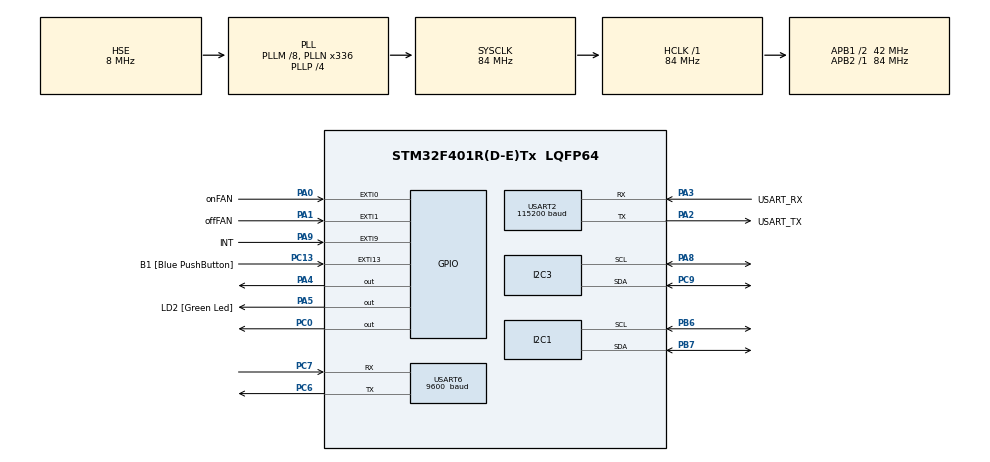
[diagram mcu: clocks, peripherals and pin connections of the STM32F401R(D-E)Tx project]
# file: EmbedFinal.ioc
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FREERTOS.Queues01=myQueue01,32,uint64_t,0,Dynamic,NULL,NULL
FREERTOS.Tasks01=defaultTask,24,128,StartDefaultTask,Default,NULL,Dynamic,NULL,NULL;myTask02,8,128,StartTask02,Default,NULL,Dynamic,NULL,NULL;myTask03,8,128,StartTask03,Default,NULL,Dynamic,NULL,NULL;myTask04,8,128,StartTask04,Default,NULL,Dynamic,NULL,NULL
FREERTOS.configUSE_NEWLIB_REENTRANT=1
I2C1.I2C_Mode=I2C_Fast
Mcu.Family=STM32F4
Mcu.Name=STM32F401R(D-E)Tx
Mcu.Package=LQFP64
NVIC.EXTI0_IRQn=true\:5\:0\:false\:false\:true\:true\:true\:true\:true
NVIC.EXTI15_10_IRQn=true\:5\:0\:false\:false\:true\:true\:true\:true\:true
NVIC.EXTI1_IRQn=true\:5\:0\:false\:false\:true\:true\:true\:true\:true
NVIC.EXTI9_5_IRQn=true\:5\:0\:false\:false\:true\:true\:true\:true\:true
NVIC.I2C1_ER_IRQn=true\:5\:0\:false\:false\:true\:true\:true\:true\:true
NVIC.I2C1_EV_IRQn=true\:5\:0\:false\:false\:true\:true\:true\:true\:true
NVIC.PriorityGroup=NVIC_PRIORITYGROUP_4
NVIC.TIM1_UP_TIM10_IRQn=true\:15\:0\:false\:false\:true\:false\:false\:true\:true
NVIC.TimeBase=TIM1_UP_TIM10_IRQn
NVIC.TimeBaseIP=TIM1
PA0-WKUP.GPIO_Label=onFAN
PA0-WKUP.GPIO_ModeDefaultEXTI=GPIO_MODE_IT_RISING
PA0-WKUP.GPIO_PuPd=GPIO_PULLUP
PA0-WKUP.Signal=GPXTI0
PA1.GPIO_Label=offFAN
PA1.GPIO_ModeDefaultEXTI=GPIO_MODE_IT_RISING
PA1.GPIO_PuPd=GPIO_PULLUP
PA1.Signal=GPXTI1
PA13.GPIO_Label=TMS
PA13.Mode=Serial_Wire
PA13.Signal=SYS_JTMS-SWDIO
PA14.GPIO_Label=TCK
PA14.Mode=Serial_Wire
PA14.Signal=SYS_JTCK-SWCLK
PA2.GPIO_Label=USART_TX
PA2.GPIO_Mode=GPIO_MODE_AF_PP
PA2.GPIO_PuPd=GPIO_NOPULL
PA2.GPIO_Speed=GPIO_SPEED_FREQ_LOW
PA2.Mode=Asynchronous
PA2.Signal=USART2_TX
PA3.GPIO_Label=USART_RX
PA3.GPIO_Mode=GPIO_MODE_AF_PP
PA3.GPIO_PuPd=GPIO_NOPULL
PA3.GPIO_Speed=GPIO_SPEED_FREQ_LOW
PA3.Mode=Asynchronous
PA3.Signal=USART2_RX
PA4.Signal=GPIO_Output
PA5.GPIO_Label=LD2 [Green Led]
PA5.GPIO_Mode=GPIO_MODE_OUTPUT_PP
PA5.GPIO_PuPd=GPIO_NOPULL
PA5.GPIO_Speed=GPIO_SPEED_FREQ_LOW
PA5.Signal=GPIO_Output
PA8.GPIO_Pu=GPIO_PULLUP
PA8.Mode=I2C
PA8.Signal=I2C3_SCL
PA9.GPIO_Label=INT
PA9.GPIO_ModeDefaultEXTI=GPIO_MODE_IT_FALLING
PA9.Signal=GPXTI9
PB3.GPIO_Label=SWO
PB3.Signal=SYS_JTDO-SWO
PB6.Mode=I2C
PB6.Signal=I2C1_SCL
PB7.Mode=I2C
PB7.Signal=I2C1_SDA
PC0.Signal=GPIO_Output
PC13-ANTI_TAMP.GPIO_Label=B1 [Blue PushButton]
PC13-ANTI_TAMP.GPIO_ModeDefaultEXTI=GPIO_MODE_IT_FALLING
PC13-ANTI_TAMP.GPIO_PuPd=GPIO_NOPULL
PC13-ANTI_TAMP.Signal=GPXTI13
PC14-OSC32_IN.Mode=LSE-External-Oscillator
PC14-OSC32_IN.Signal=RCC_OSC32_IN
PC15-OSC32_OUT.Mode=LSE-External-Oscillator
PC15-OSC32_OUT.Signal=RCC_OSC32_OUT
PC6.Mode=Asynchronous
PC6.Signal=USART6_TX
PC7.Mode=Asynchronous
PC7.Signal=USART6_RX
PC9.GPIO_Pu=GPIO_PULLUP
PC9.Mode=I2C
PC9.Signal=I2C3_SDA
PH0\ -\ OSC_IN.Mode=HSE-External-Clock-Source
PH0\ -\ OSC_IN.Signal=RCC_OSC_IN
PH1\ -\ OSC_OUT.Mode=HSE-External-Clock-Source
PH1\ -\ OSC_OUT.Signal=RCC_OSC_OUT
ProjectManager.HeapSize=0x200
ProjectManager.StackSize=0x400
ProjectManager.TargetToolchain=STM32CubeIDE
RCC.48MHZClocksFreq_Value=48000000
RCC.AHBFreq_Value=84000000
RCC.APB1CLKDivider=RCC_HCLK_DIV2
RCC.APB1Freq_Value=42000000
RCC.APB1TimFreq_Value=84000000
RCC.APB2Freq_Value=84000000
RCC.APB2TimFreq_Value=84000000
RCC.CortexFreq_Value=84000000
RCC.HCLKFreq_Value=84000000
RCC.HSE_VALUE=8000000
RCC.HSI_VALUE=16000000
RCC.PLLM=8
RCC.PLLN=336
RCC.PLLP=RCC_PLLP_DIV4
RCC.PLLQ=7
RCC.PLLSourceVirtual=RCC_PLLSOURCE_HSE
RCC.SYSCLKFreq_VALUE=84000000
RCC.SYSCLKSource=RCC_SYSCLKSOURCE_PLLCLK
RCC.VCOOutputFreq_Value=336000000
TIM2.Prescaler=84-1
USART2.BaudRate=115200
USART2.VirtualMode=VM_ASYNC
USART6.BaudRate=9600 
USART6.VirtualMode=VM_ASYNC
VP_FREERTOS_VS_CMSIS_V2.Mode=CMSIS_V2
VP_SYS_VS_tim1.Mode=TIM1
VP_TIM2_VS_ClockSourceINT.Mode=Internal
board=NUCLEO-F401RE

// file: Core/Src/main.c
/* USER CODE BEGIN Header */
/**
 ******************************************************************************
 * @file           : main.c
 * @brief          : Main program body
 ******************************************************************************
 * @attention
 *
 * Copyright (c) 2023 STMicroelectronics.
 * All rights reserved.
 *
 * This software is licensed under terms that can be found in the LICENSE file
 * in the root directory of this software component.
 * If no LICENSE file comes with this software, it is provided AS-IS.
 *
 ******************************************************************************
 */
/* USER CODE END Header */
#include "main.h"
#include "cmsis_os.h"

I2C_HandleTypeDef hi2c1;
I2C_HandleTypeDef hi2c3;

TIM_HandleTypeDef htim2;

UART_HandleTypeDef huart2;
UART_HandleTypeDef huart6;

/* Definitions for defaultTask */
osThreadId_t defaultTaskHandle;
const osThreadAttr_t defaultTask_attributes = {
  .name = "defaultTask",
  .stack_size = 128 * 4,
  .priority = (osPriority_t) osPriorityNormal,
};
/* Definitions for myTask02 */
osThreadId_t myTask02Handle;
const osThreadAttr_t myTask02_attributes = {
  .name = "myTask02",
  .stack_size = 128 * 4,
  .priority = (osPriority_t) osPriorityLow,
};
/* Definitions for myTask03 */
osThreadId_t myTask03Handle;
const osThreadAttr_t myTask03_attributes = {
  .name = "myTask03",
  .stack_size = 128 * 4,
  .priority = (osPriority_t) osPriorityLow,
};
/* Definitions for myTask04 */
osThreadId_t myTask04Handle;
const osThreadAttr_t myTask04_attributes = {
  .name = "myTask04",
  .stack_size = 128 * 4,
  .priority = (osPriority_t) osPriorityLow,
};
/* Definitions for myQueue01 */
osMessageQueueId_t myQueue01Handle;
const osMessageQueueAttr_t myQueue01_attributes = {
  .name = "myQueue01"
};

void SystemClock_Config(void);
static void MX_GPIO_Init(void);
static void MX_USART2_UART_Init(void);
static void MX_I2C1_Init(void);
static void MX_I2C3_Init(void);
static void MX_USART6_UART_Init(void);
static void MX_TIM2_Init(void);
void StartDefaultTask(void *argument);
void StartTask02(void *argument);
void StartTask03(void *argument);
void StartTask04(void *argument);

/* USER CODE BEGIN 0 */
#define MAX(x, y) (((x) > (y)) ? (x) : (y))
char UartBuffer[32];
// keep rate data
int32_t RATE_SIZE = 10;
int32_t rateIndex = 0;
int32_t rates[10];
int32_t beatAvg = 0;
int32_t count = 0;

uint8_t data_read[4];
uint8_t data_read1[4];
int32_t aux;
int32_t aux1;
int32_t ambient_temperature;
int32_t ambient_temperature1;

uint8_t IsFingerOnScreen01;
int32_t timecount;
typedef enum {
	BEGIN, CALCULATE, SEND
} DEVICE_STATE;
DEVICE_STATE state;

#define DHT22_PORT GPIOB
#define DHT22_PIN GPIO_PIN_14

uint8_t hum1, hum2, tempC1, tempC2, SUM, CHECK;
uint32_t pMillis, cMillis;
float temp_Celsius = 0;
float Humidity = 0;
uint8_t hum_integral, hum_decimal, tempC_integral, tempC_decimal;
uint8_t avgWeatherTemp;

void UART2_SendString(char *s) {
	HAL_UART_Transmit(&huart2, (uint8_t*) s, strlen(s), 1000);
}

void microDelay(uint16_t delay) {
	__HAL_TIM_SET_COUNTER(&htim2, 0);
	while (__HAL_TIM_GET_COUNTER(&htim2) < delay)
		;
}

uint8_t DHT22_Start(void) {
	uint8_t Response = 0;
	GPIO_InitTypeDef GPIO_InitStructPrivate = { 0 };
	GPIO_InitStructPrivate.Pin = DHT22_PIN;
	GPIO_InitStructPrivate.Mode = GPIO_MODE_OUTPUT_PP;
	GPIO_InitStructPrivate.Speed = GPIO_SPEED_FREQ_LOW;
	GPIO_InitStructPrivate.Pull = GPIO_NOPULL;
	HAL_GPIO_Init(DHT22_PORT, &GPIO_InitStructPrivate);
	HAL_GPIO_WritePin(DHT22_PORT, DHT22_PIN, 0);
	microDelay(1300);
	HAL_GPIO_WritePin(DHT22_PORT, DHT22_PIN, 1);
	microDelay(30);
	GPIO_InitStructPrivate.Mode = GPIO_MODE_INPUT;
	GPIO_InitStructPrivate.Pull = GPIO_PULLUP;
	HAL_GPIO_Init(DHT22_PORT, &GPIO_InitStructPrivate);
	microDelay(40);
	if (!(HAL_GPIO_ReadPin(DHT22_PORT, DHT22_PIN))) {
		microDelay(80);
		if ((HAL_GPIO_ReadPin(DHT22_PORT, DHT22_PIN)))
			Response = 1;
	}
	pMillis = HAL_GetTick();
	cMillis = HAL_GetTick();
	while ((HAL_GPIO_ReadPin(DHT22_PORT, DHT22_PIN)) && pMillis + 2 > cMillis) {
		cMillis = HAL_GetTick();
	}
	return Response;
}

uint8_t DHT22_Read(void) {
	uint8_t x, y;
	for (x = 0; x < 8; x++) {
		pMillis = HAL_GetTick();
		cMillis = HAL_GetTick();
		while (!(HAL_GPIO_ReadPin(DHT22_PORT, DHT22_PIN))
				&& pMillis + 2 > cMillis) {
			cMillis = HAL_GetTick();
		}
		microDelay(40);
		if (!(HAL_GPIO_ReadPin(DHT22_PORT, DHT22_PIN)))   // if the pin is low
			y &= ~(1 << (7 - x));
		else
			y |= (1 << (7 - x));
		pMillis = HAL_GetTick();
		cMillis = HAL_GetTick();
		while ((HAL_GPIO_ReadPin(DHT22_PORT, DHT22_PIN))
				&& pMillis + 2 > cMillis) {  // wait for the pin to go low
			cMillis = HAL_GetTick();
		}
	}
	return y;
}

void UART6_SendData(char *s) {
	switch (state) {
	case BEGIN:
		//osMessageQueuePut(myQueue01Handle,s, 0U, 0U);
		//HAL_UART_Transmit(&huart6, (uint8_t*) UartBuffer, strlen(UartBuffer), 1000);
		//HAL_UART_Transmit(&huart2, (uint8_t*) s, strlen(s), 1000);
		//UART2_SendString("BEGIN");
		if (GetIsFingerOnScreen())
			state = CALCULATE;
		timecount = 0;
		return;
	case CALCULATE:
		timecount += 1;
		if (timecount > 10)
			state = SEND;
		return;
	case SEND:
		osMessageQueuePut(myQueue01Handle, s, 0U, 0U);
		//UART2_SendString(s);
		//HAL_UART_Transmit(&huart6, (uint8_t*) UartBuffer, strlen(UartBuffer), 1000);
		timecount += 1;
		if (!GetIsFingerOnScreen()) {
			state = BEGIN;
		}
		//HAL_UART_Transmit(&huart2, (uint8_t*) s, strlen(s), 1000);
		return;
	}
}

void UART6_SendData_Temp(char *s) {
	//UART2_SendString(s);
	osMessageQueuePut(myQueue01Handle, s, 0U, 0U);
}

void UART6_SendData_Temp1(char *s) {
	//UART2_SendString(s);
	osMessageQueuePut(myQueue01Handle, s, 0U, 0U);
}

void ReadDHT22() {
	if (DHT22_Start()) {
		hum1 = DHT22_Read();
		hum2 = DHT22_Read();
		tempC1 = DHT22_Read();
		tempC2 = DHT22_Read();
		SUM = DHT22_Read();
		CHECK = hum1 + hum2 + tempC1 + tempC2;
		if (CHECK == SUM) {
			if (tempC1 > 127) {
				temp_Celsius = (float) tempC2 / 10 * (-1);
			} else {
				temp_Celsius = (float) ((tempC1 << 8) | tempC2) / 10;
			}
			if (temp_Celsius < 0) {
				tempC_integral = temp_Celsius * (-1);
				tempC_decimal = temp_Celsius * (-10) - tempC_integral * 10;
			} else {
				tempC_integral = temp_Celsius;
				tempC_decimal = temp_Celsius * 10 - tempC_integral * 10;
			}
			if (avgWeatherTemp == 0) {
				avgWeatherTemp += tempC_integral;
			} else {
				avgWeatherTemp += tempC_integral;
				avgWeatherTemp /= 2;
			}
			Humidity = (float) ((hum1 << 8) | hum2) / 10;
			hum_integral = Humidity;
			hum_decimal = Humidity * 10 - hum_integral * 10;
			sprintf(UartBuffer, "humidity: %d\n\r", hum_integral);
			UART6_SendData_Temp(UartBuffer);
		}
	}
}
void ReadHR() {
	char UartBufferTmp[32];
	Max30102_Task();
	int32_t HeartRate = Max30102_GetHeartRate();
	if (HeartRate < 255 && HeartRate > 20) {
		rates[rateIndex++] = HeartRate;
		rateIndex %= RATE_SIZE;
		//UART2_SendString("valid state \n");
		count++;
	} else
		count = MAX(0, count - 1);
	//Average HeartRate
	beatAvg = 0;
	int ratio = 0;
	if (count <= RATE_SIZE) {
		ratio = count;
		//UART2_SendString("Count less than \n");
	} else {
		ratio = RATE_SIZE;
		//UART2_SendString("Count more than \n");
	}
	for (int x = 0; x < ratio; x++)
		beatAvg += rates[x];
	beatAvg /= ratio;
	//sprintf(UartBuffer, "HR(avg): %d\n\rSpO2: %d\n\r", beatAvg, Max30102_GetSpO2Value());
	//UART2_SendString(UartBuffer);
	sprintf(UartBuffer, "HR: %d\n\r", beatAvg);
	UART6_SendData(UartBuffer);
	//HAL_Delay(10);
	//osMessageQueuePut(myQueue01Handle,UartBufferTmp, 0U, 0U);
}
void ReadTmp() {
	HAL_I2C_Mem_Read(&hi2c3, (0x5A << 1), 0x06, 1, (uint8_t*) data_read, 2,100);
	aux = (int16_t) ((data_read[1] << 8) | data_read[0]);
	ambient_temperature = aux * 0.0202 - 273.15;
	HAL_Delay(100);
	if (avgWeatherTemp == 0) {
		avgWeatherTemp += ambient_temperature;
	} else {
		avgWeatherTemp += ambient_temperature;
		avgWeatherTemp /= 2;
	}
	sprintf(UartBuffer, "WeatherTemp: %d\n\r", avgWeatherTemp);
	UART6_SendData_Temp1(UartBuffer);
	HAL_I2C_Mem_Read(&hi2c3, (0x5A << 1), 0x07, 1, (uint8_t*) data_read1, 2,100);
	aux1 = (int16_t) ((data_read1[1] << 8) | data_read1[0]);
	ambient_temperature1 = aux1 * 0.0202 - 273.15;
	HAL_Delay(100);
	//sprintf(UartBuffer,"Ambient: %d\n\r", ambient_temperature);
	//UART2_SendString(UartBuffer);
	sprintf(UartBuffer, "Object: %d\n\r", ambient_temperature1);
	UART6_SendData_Temp(UartBuffer);
}
/* USER CODE END 0 */

int main(void)
{

  /* MCU Configuration--------------------------------------------------------*/

  /* Reset of all peripherals, Initializes the Flash interface and the Systick. */
  HAL_Init();

  /* Configure the system clock */
  SystemClock_Config();

  /* Initialize all configured peripherals */
  MX_GPIO_Init();
  MX_USART2_UART_Init();
  MX_I2C1_Init();
  MX_I2C3_Init();
  MX_USART6_UART_Init();
  MX_TIM2_Init();
  /* USER CODE BEGIN 2 */
	HAL_TIM_Base_Start(&htim2);
	UART2_SendString("START\n\r");
	Max30102_Init(&hi2c1);
  /* USER CODE END 2 */

  /* Init scheduler */
  osKernelInitialize();

  /* Create the queue(s) */
  /* creation of myQueue01 */
  myQueue01Handle = osMessageQueueNew (32, sizeof(uint64_t), &myQueue01_attributes);

  /* Create the thread(s) */
  /* creation of defaultTask */
  defaultTaskHandle = osThreadNew(StartDefaultTask, NULL, &defaultTask_attributes);

  /* creation of myTask02 */
  myTask02Handle = osThreadNew(StartTask02, NULL, &myTask02_attributes);

  /* creation of myTask03 */
  myTask03Handle = osThreadNew(StartTask03, NULL, &myTask03_attributes);

  /* creation of myTask04 */
  myTask04Handle = osThreadNew(StartTask04, NULL, &myTask04_attributes);

  /* Start scheduler */
  osKernelStart();
  /* We should never get here as control is now taken by the scheduler */
  /* Infinite loop */
	while (1) {

	}
}

void SystemClock_Config(void)
{
  RCC_OscInitTypeDef RCC_OscInitStruct = {0};
  RCC_ClkInitTypeDef RCC_ClkInitStruct = {0};

  /** Configure the main internal regulator output voltage
  */
  __HAL_RCC_PWR_CLK_ENABLE();
  __HAL_PWR_VOLTAGESCALING_CONFIG(PWR_REGULATOR_VOLTAGE_SCALE2);

  /** Initializes the RCC Oscillators according to the specified parameters
  * in the RCC_OscInitTypeDef structure.
  */
  RCC_OscInitStruct.OscillatorType = RCC_OSCILLATORTYPE_HSE;
  RCC_OscInitStruct.HSEState = RCC_HSE_BYPASS;
  RCC_OscInitStruct.PLL.PLLState = RCC_PLL_ON;
  RCC_OscInitStruct.PLL.PLLSource = RCC_PLLSOURCE_HSE;
  RCC_OscInitStruct.PLL.PLLM = 8;
  RCC_OscInitStruct.PLL.PLLN = 336;
  RCC_OscInitStruct.PLL.PLLP = RCC_PLLP_DIV4;
  RCC_OscInitStruct.PLL.PLLQ = 7;
  if (HAL_RCC_OscConfig(&RCC_OscInitStruct) != HAL_OK)
  {
    Error_Handler();
  }

  /** Initializes the CPU, AHB and APB buses clocks
  */
  RCC_ClkInitStruct.ClockType = RCC_CLOCKTYPE_HCLK|RCC_CLOCKTYPE_SYSCLK
                              |RCC_CLOCKTYPE_PCLK1|RCC_CLOCKTYPE_PCLK2;
  RCC_ClkInitStruct.SYSCLKSource = RCC_SYSCLKSOURCE_PLLCLK;
  RCC_ClkInitStruct.AHBCLKDivider = RCC_SYSCLK_DIV1;
  RCC_ClkInitStruct.APB1CLKDivider = RCC_HCLK_DIV2;
  RCC_ClkInitStruct.APB2CLKDivider = RCC_HCLK_DIV1;

  if (HAL_RCC_ClockConfig(&RCC_ClkInitStruct, FLASH_LATENCY_2) != HAL_OK)
  {
    Error_Handler();
  }
}

static void MX_I2C1_Init(void)
{

  hi2c1.Instance = I2C1;
  hi2c1.Init.ClockSpeed = 400000;
  hi2c1.Init.DutyCycle = I2C_DUTYCYCLE_2;
  hi2c1.Init.OwnAddress1 = 0;
  hi2c1.Init.AddressingMode = I2C_ADDRESSINGMODE_7BIT;
  hi2c1.Init.DualAddressMode = I2C_DUALADDRESS_DISABLE;
  hi2c1.Init.OwnAddress2 = 0;
  hi2c1.Init.GeneralCallMode = I2C_GENERALCALL_DISABLE;
  hi2c1.Init.NoStretchMode = I2C_NOSTRETCH_DISABLE;
  if (HAL_I2C_Init(&hi2c1) != HAL_OK)
  {
    Error_Handler();
  }

}

static void MX_I2C3_Init(void)
{

  hi2c3.Instance = I2C3;
  hi2c3.Init.ClockSpeed = 100000;
  hi2c3.Init.DutyCycle = I2C_DUTYCYCLE_2;
  hi2c3.Init.OwnAddress1 = 0;
  hi2c3.Init.AddressingMode = I2C_ADDRESSINGMODE_7BIT;
  hi2c3.Init.DualAddressMode = I2C_DUALADDRESS_DISABLE;
  hi2c3.Init.OwnAddress2 = 0;
  hi2c3.Init.GeneralCallMode = I2C_GENERALCALL_DISABLE;
  hi2c3.Init.NoStretchMode = I2C_NOSTRETCH_DISABLE;
  if (HAL_I2C_Init(&hi2c3) != HAL_OK)
  {
    Error_Handler();
  }

}

static void MX_TIM2_Init(void)
{

  TIM_ClockConfigTypeDef sClockSourceConfig = {0};
  TIM_MasterConfigTypeDef sMasterConfig = {0};

  htim2.Instance = TIM2;
  htim2.Init.Prescaler = 84-1;
  htim2.Init.CounterMode = TIM_COUNTERMODE_UP;
  htim2.Init.Period = 4294967295;
  htim2.Init.ClockDivision = TIM_CLOCKDIVISION_DIV1;
  htim2.Init.AutoReloadPreload = TIM_AUTORELOAD_PRELOAD_DISABLE;
  if (HAL_TIM_Base_Init(&htim2) != HAL_OK)
  {
    Error_Handler();
  }
  sClockSourceConfig.ClockSource = TIM_CLOCKSOURCE_INTERNAL;
  if (HAL_TIM_ConfigClockSource(&htim2, &sClockSourceConfig) != HAL_OK)
  {
    Error_Handler();
  }
  sMasterConfig.MasterOutputTrigger = TIM_TRGO_RESET;
  sMasterConfig.MasterSlaveMode = TIM_MASTERSLAVEMODE_DISABLE;
  if (HAL_TIMEx_MasterConfigSynchronization(&htim2, &sMasterConfig) != HAL_OK)
  {
    Error_Handler();
  }

}

static void MX_USART2_UART_Init(void)
{

  huart2.Instance = USART2;
  huart2.Init.BaudRate = 115200;
  huart2.Init.WordLength = UART_WORDLENGTH_8B;
  huart2.Init.StopBits = UART_STOPBITS_1;
  huart2.Init.Parity = UART_PARITY_NONE;
  huart2.Init.Mode = UART_MODE_TX_RX;
  huart2.Init.HwFlowCtl = UART_HWCONTROL_NONE;
  huart2.Init.OverSampling = UART_OVERSAMPLING_16;
  if (HAL_UART_Init(&huart2) != HAL_OK)
  {
    Error_Handler();
  }

}

static void MX_USART6_UART_Init(void)
{

  huart6.Instance = USART6;
  huart6.Init.BaudRate = 9600 ;
  huart6.Init.WordLength = UART_WORDLENGTH_8B;
  huart6.Init.StopBits = UART_STOPBITS_1;
  huart6.Init.Parity = UART_PARITY_NONE;
  huart6.Init.Mode = UART_MODE_TX_RX;
  huart6.Init.HwFlowCtl = UART_HWCONTROL_NONE;
  huart6.Init.OverSampling = UART_OVERSAMPLING_16;
  if (HAL_UART_Init(&huart6) != HAL_OK)
  {
    Error_Handler();
  }

}

static void MX_GPIO_Init(void)
{
  GPIO_InitTypeDef GPIO_InitStruct = {0};

  /* GPIO Ports Clock Enable */
  __HAL_RCC_GPIOC_CLK_ENABLE();
  __HAL_RCC_GPIOH_CLK_ENABLE();
  __HAL_RCC_GPIOA_CLK_ENABLE();
  __HAL_RCC_GPIOB_CLK_ENABLE();

  /*Configure GPIO pin Output Level */
  HAL_GPIO_WritePin(GPIOC, GPIO_PIN_0, GPIO_PIN_RESET);

  /*Configure GPIO pin Output Level */
  HAL_GPIO_WritePin(GPIOA, GPIO_PIN_4|LD2_Pin, GPIO_PIN_RESET);

  /*Configure GPIO pin : B1_Pin */
  GPIO_InitStruct.Pin = B1_Pin;
  GPIO_InitStruct.Mode = GPIO_MODE_IT_FALLING;
  GPIO_InitStruct.Pull = GPIO_NOPULL;
  HAL_GPIO_Init(B1_GPIO_Port, &GPIO_InitStruct);

  /*Configure GPIO pin : PC0 */
  GPIO_InitStruct.Pin = GPIO_PIN_0;
  GPIO_InitStruct.Mode = GPIO_MODE_OUTPUT_PP;
  GPIO_InitStruct.Pull = GPIO_NOPULL;
  GPIO_InitStruct.Speed = GPIO_SPEED_FREQ_LOW;
  HAL_GPIO_Init(GPIOC, &GPIO_InitStruct);

  /*Configure GPIO pins : onFAN_Pin offFAN_Pin */
  GPIO_InitStruct.Pin = onFAN_Pin|offFAN_Pin;
  GPIO_InitStruct.Mode = GPIO_MODE_IT_RISING;
  GPIO_InitStruct.Pull = GPIO_PULLUP;
  HAL_GPIO_Init(GPIOA, &GPIO_InitStruct);

  /*Configure GPIO pins : PA4 LD2_Pin */
  GPIO_InitStruct.Pin = GPIO_PIN_4|LD2_Pin;
  GPIO_InitStruct.Mode = GPIO_MODE_OUTPUT_PP;
  GPIO_InitStruct.Pull = GPIO_NOPULL;
  GPIO_InitStruct.Speed = GPIO_SPEED_FREQ_LOW;
  HAL_GPIO_Init(GPIOA, &GPIO_InitStruct);

  /*Configure GPIO pin : INT_Pin */
  GPIO_InitStruct.Pin = INT_Pin;
  GPIO_InitStruct.Mode = GPIO_MODE_IT_FALLING;
  GPIO_InitStruct.Pull = GPIO_NOPULL;
  HAL_GPIO_Init(INT_GPIO_Port, &GPIO_InitStruct);

  /* EXTI interrupt init*/
  HAL_NVIC_SetPriority(EXTI0_IRQn, 5, 0);
  HAL_NVIC_EnableIRQ(EXTI0_IRQn);

  HAL_NVIC_SetPriority(EXTI1_IRQn, 5, 0);
  HAL_NVIC_EnableIRQ(EXTI1_IRQn);

  HAL_NVIC_SetPriority(EXTI9_5_IRQn, 5, 0);
  HAL_NVIC_EnableIRQ(EXTI9_5_IRQn);

  HAL_NVIC_SetPriority(EXTI15_10_IRQn, 5, 0);
  HAL_NVIC_EnableIRQ(EXTI15_10_IRQn);

}

/* USER CODE BEGIN 4 */
void HAL_GPIO_EXTI_Callback(uint16_t GPIO_Pin) {
	if (GPIO_Pin == INT_Pin) {
		//UART2_SendString("Interrupt Start\n\r");
		Max30102_InterruptCallback();
		//IsFingerOnScreen01 = 1;
	} else if (GPIO_Pin == onFAN_Pin) {
		//UART2_SendString("Fan on\n\r");
		HAL_GPIO_WritePin(GPIOC, GPIO_PIN_0, GPIO_PIN_SET);
	} else if (GPIO_Pin == offFAN_Pin) {
		//UART2_SendString("Fan off\n\r");
		//HAL_GPIO_WritePin(GPIOC, GPIO_PIN_3,GPIO_PIN_SET);
		HAL_GPIO_WritePin(GPIOC, GPIO_PIN_0, GPIO_PIN_RESET);
	} else if (GPIO_Pin == GPIO_PIN_5 && state == BEGIN) {
		if (state == BEGIN && IsFingerOnScreen01) {
			state = CALCULATE;
			//HAL_GPIO_TogglePin(GPIOA, GPIO_PIN_5);
		} else if (!IsFingerOnScreen01) {
			state = BEGIN;
		}
	}
}
/* USER CODE END 4 */

void StartDefaultTask(void *argument)
{
  /* USER CODE BEGIN 5 */
	/* Infinite loop */
	for (;;) {
		//HAL_GPIO_WritePin(GPIOC, GPIO_PIN_3,GPIO_PIN_SET);
		//UART2_SendString("ReadHR\n\r");
		sprintf(UartBuffer, "%c[2J%c[H", 27, 27);
		//UART2_SendString(UartBuffer);

		// DHT11 environment temp
		//osMessageQueuePut(myQueue01Handle, (uint8_t*) UartBuffer, 0U, 0U);

		sprintf(UartBuffer, "State : %d\n\r", UART2_GetState());
		//UART2_SendString(UartBuffer);

		ReadHR();

		osDelay(1000);

	}
  /* USER CODE END 5 */
}

void StartTask02(void *argument)
{
  /* USER CODE BEGIN StartTask02 */
	/* Infinite loop */
	char buffer[32];
	for (;;) {
		//char buffer[32];
		//IsFingerOnScreen01 = 0;
		if (osMessageQueueGet(myQueue01Handle, UartBuffer, NULL, 0U) == osOK) {
			//UART2_SendString("Queue\n\r");
			HAL_UART_Transmit(&huart6, (uint8_t*) UartBuffer,strlen(UartBuffer), 1000);
			UART2_SendString(UartBuffer);
			UART2_SendString("----------------\n\r");
		}
		osDelay(1);
	}
  /* USER CODE END StartTask02 */
}

void StartTask03(void *argument)
{
  /* USER CODE BEGIN StartTask03 */
	/* Infinite loop */
	for (;;) {
		//UART2_SendString("ReadObjTemp\n\r");
		ReadTmp();
		osDelay(1000);
	}
  /* USER CODE END StartTask03 */
}

void StartTask04(void *argument)
{
  /* USER CODE BEGIN StartTask04 */
	/* Infinite loop */
	for (;;) {
		ReadDHT22();
		osDelay(1000);
	}
  /* USER CODE END StartTask04 */
}

void HAL_TIM_PeriodElapsedCallback(TIM_HandleTypeDef *htim)
{
  if (htim->Instance == TIM1) {
    HAL_IncTick();
  }
}

void Error_Handler(void)
{
	__disable_irq();
	while (1) {
	}
}
